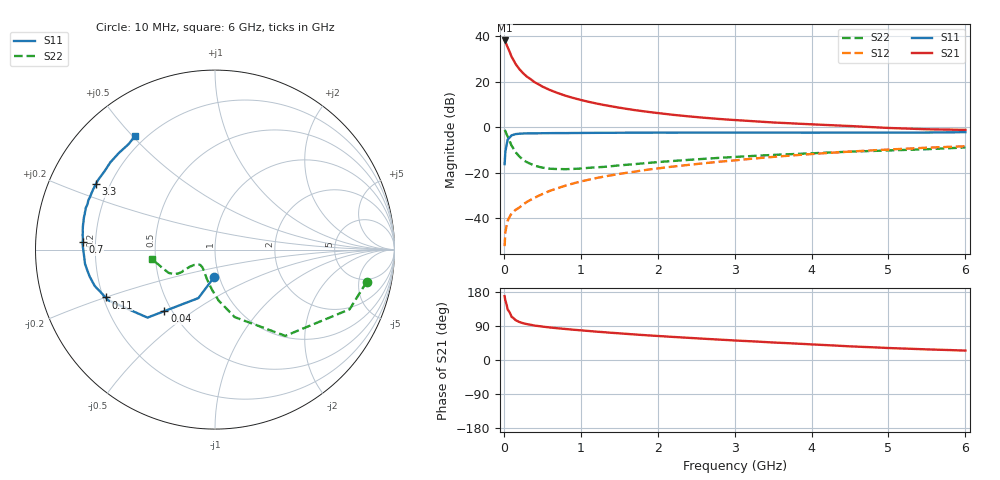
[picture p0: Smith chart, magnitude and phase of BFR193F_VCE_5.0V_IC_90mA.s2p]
! Infineon Technologies  Discrete & RF Semiconductors
! BFR193F
! VCE =  5.0 V,  IC =  90 mA
! Common Emitter S-Parameters:  Jan 2017
# GHz  S  MA  R  50
!  f  S11  S21  S12  S22
! GHz  MAG  ANG  MAG  ANG  MAG  ANG  MAG  ANG
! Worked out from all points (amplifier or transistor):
!   77 points, 10 MHz to 6 GHz, reference 50 ohm
!   highest |S21| = 38.1 dB at 10 MHz (marker M1)
!   |S21| within 3 dB of that: start of sweep to 49.55 MHz
!   unconditionally stable (mu >= 1): 471.8 MHz to 2.679 GHz
!   at 130 MHz: K = 0.63, MSG = 33.2 dB, |S12| = -37.1 dB
!   at 2.2 GHz: K = 1.03, MAG = 10.4 dB, |S12| = -17.4 dB
!   at 6 GHz: K = 0.87, MSG = 3.6 dB, |S12| = -8.4 dB
!   S11 on the Smith chart (normalised r, x): 10 MHz: 0.94, -0.30; 40 MHz: 0.46, -0.39; 110 MHz: 0.21, -0.20; 700 MHz: 0.15, +0.03; 3.3 GHz: 0.15, +0.25; 6 GHz: 0.16, +0.51
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0.01  0.1536 -91.8  80.58 168.4  0.0024 80.7  0.8646 -11.9
0.02  0.2855 -108.9  76.08 156.9  0.0049 75.7  0.8204 -23.9
0.04  0.4434 -129.4  61.93 142.5  0.0074 63.9  0.6689 -40.1
0.05  0.5338 -134.8  56.83 133.0  0.0087 60.6  0.6202 -50.8
0.1  0.6585 -154.6  35.36 114.0  0.0126 52.8  0.3919 -73.7
0.11  0.6656 -156.4  33.22 112.7  0.0131 53.6  0.3692 -75.6
0.15  0.7005 -163.3  24.9 105.5  0.015 56.3  0.2841 -86.0
0.2  0.7147 -168.0  19.04 100.4  0.0169 59.0  0.2275 -93.7
0.25  0.7226 -171.5  15.35 97.1  0.0198 62.2  0.1896 -100.6
0.3  0.7284 -173.7  12.88 94.7  0.0226 64.8  0.1689 -105.7
0.4  0.7302 -177.1  9.718 90.8  0.0278 68.0  0.1415 -114.0
0.5  0.7333 -179.5  7.812 88.2  0.0336 71.0  0.1283 -120.4
0.7  0.739 176.6  5.618 83.7  0.0452 74.3  0.1194 -129.4
0.9  0.7415 173.9  4.389 80.0  0.0574 75.7  0.1201 -135.6
1.1  0.7453 171.4  3.607 76.6  0.0693 76.2  0.1269 -138.7
1.5  0.751 167.0  2.676 70.4  0.093 76.8  0.1438 -143.4
2.1  0.7553 161.3  1.95 62.2  0.1292 76.1  0.1748 -145.8
3.1  0.7571 152.8  1.396 50.5  0.1923 73.7  0.2251 -146.1
3.3  0.7573 151.1  1.329 48.5  0.2067 72.9  0.2348 -146.6
4.1  0.7551 143.8  1.131 40.2  0.2622 69.1  0.2695 -150.0
5.1  0.7589 133.7  0.945 30.9  0.3272 62.9  0.3102 -160.7
6  0.7735 125.2  0.868 24.9  0.3792 57.1  0.3564 -171.4
